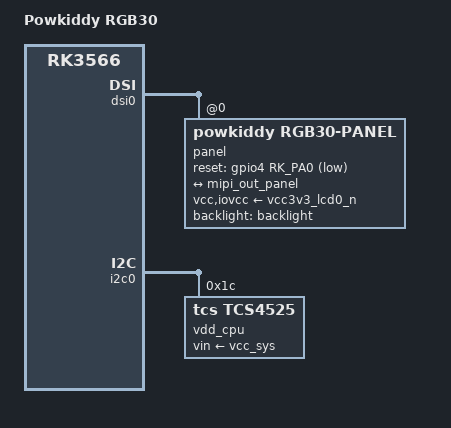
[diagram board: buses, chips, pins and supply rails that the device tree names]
// SPDX-License-Identifier: (GPL-2.0+ OR MIT)

/dts-v1/;

#include <dt-bindings/gpio/gpio.h>
#include <dt-bindings/input/linux-event-codes.h>
#include <dt-bindings/pinctrl/rockchip.h>
#include "rk3566-powkiddy-rk2023.dtsi"

/ {
	model = "Powkiddy RGB30";
	compatible = "powkiddy,rgb30", "rockchip,rk3566";
};

&cru {
	assigned-clocks = <&pmucru CLK_RTC_32K>, <&cru PLL_GPLL>,
			  <&pmucru PLL_PPLL>, <&cru PLL_VPLL>;
	assigned-clock-rates = <32768>, <1200000000>,
			       <200000000>, <292500000>;
};

&dsi0 {
	panel: panel@0 {
		compatible = "powkiddy,rgb30-panel";
		reg = <0>;
		backlight = <&backlight>;
		pinctrl-names = "default";
		pinctrl-0 = <&lcd_rst>;
		reset-gpios = <&gpio4 RK_PA0 GPIO_ACTIVE_LOW>;
		vcc-supply = <&vcc3v3_lcd0_n>;
		iovcc-supply = <&vcc3v3_lcd0_n>;

		port {
			mipi_in_panel: endpoint {
				remote-endpoint = <&mipi_out_panel>;
			};
		};
	};
};

&i2c0 {
	vdd_cpu: regulator@1c {
		compatible = "tcs,tcs4525";
		reg = <0x1c>;
		fcs,suspend-voltage-selector = <1>;
		regulator-always-on;
		regulator-boot-on;
		regulator-min-microvolt = <712500>;
		regulator-max-microvolt = <1390000>;
		regulator-name = "vdd_cpu";
		regulator-ramp-delay = <2300>;
		vin-supply = <&vcc_sys>;
		regulator-state-mem {
			regulator-off-in-suspend;
		};
	};
};
